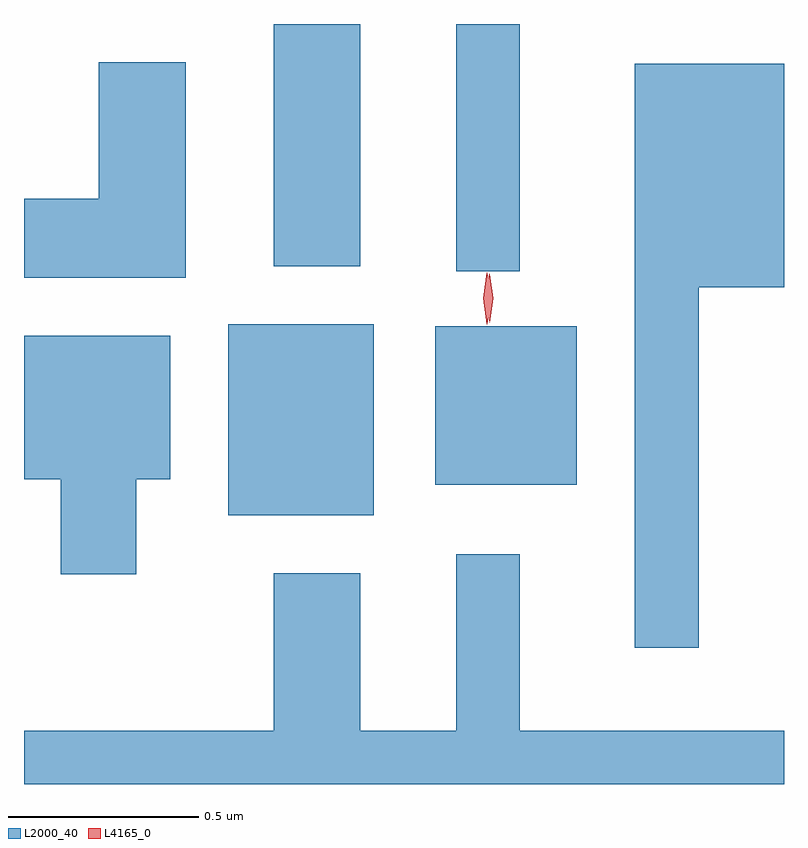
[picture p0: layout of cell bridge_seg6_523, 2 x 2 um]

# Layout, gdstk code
import gdstk
lib = gdstk.Library(unit=1e-6, precision=1e-09)
def R(c, l, rs):  # rectangles x0, y0, x1, y1
    for r in rs: c.add(gdstk.rectangle(r[:2], r[2:], *l))
def P(c, l, *ps):  # polygons
    for p in ps: c.add(gdstk.Polygon(p, *l))
L2000_40 = (2000, 40)
L4165_0 = (4165, 0)

bridge_seg6_523 = lib.new_cell('bridge_seg6_523')
R(bridge_seg6_523, L2000_40, [(1009.881,1597.491,1010.264,1597.994), (1010.426,1597.571,1010.799,1597.989), (1010.481,1598.133,1010.649,1598.784), (1010.001,1598.146,1010.229,1598.784)])
P(bridge_seg6_523, L2000_40, [(1009.769,1598.684),(1009.541,1598.684),(1009.541,1598.324),(1009.344,1598.324),(1009.344,1598.116),(1009.769,1598.116)],
  [(1011.119,1598.091),(1011.344,1598.091),(1011.344,1598.679),(1010.951,1598.679),(1010.951,1597.143),(1011.119,1597.143)],
  [(1009.639,1597.586),(1009.729,1597.586),(1009.729,1597.964),(1009.344,1597.964),(1009.344,1597.586),(1009.441,1597.586),(1009.441,1597.336),(1009.639,1597.336)],
  [(1011.344,1596.924),(1010.649,1596.924),(1010.649,1597.388),(1010.481,1597.388),(1010.481,1596.924),(1010.229,1596.924),(1010.229,1597.339),(1010.001,1597.339),(1010.001,1596.924),(1009.344,1596.924),(1009.344,1596.784),(1011.344,1596.784)])
P(bridge_seg6_523, L4165_0, [(1010.562,1597.994),(1010.553,1598.062),(1010.562,1598.13),(1010.563,1598.13),(1010.563,1598.13),(1010.573,1598.062),(1010.563,1597.994),(1010.563,1597.994)],
  [(1010.569,1597.998),(1010.569,1597.998),(1010.559,1598.062),(1010.568,1598.126),(1010.568,1598.127),(1010.569,1598.126),(1010.579,1598.062),(1010.57,1597.998)])

lib.write_gds('bridge_seg6_523.gds')
